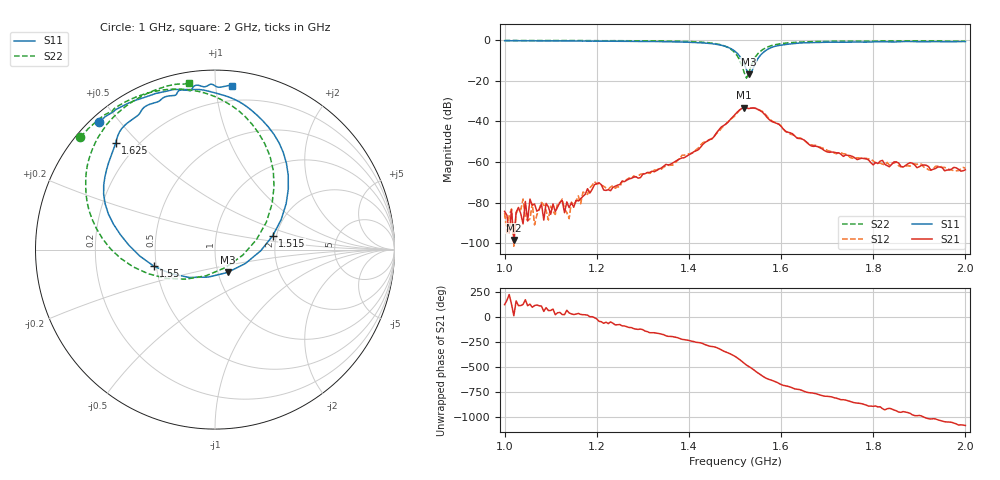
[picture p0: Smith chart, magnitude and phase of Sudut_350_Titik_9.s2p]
# Hz S RI R 50
! CMT, C1220, 16058040, 17.2.0/1
! Date: 14/08/2018 12:00:07
! Data: Format (Calibration Info)
! Freq  S11: Re/Im (F2)  S21: Re/Im (F2)  S12: Re/Im (F2)  S22: Re/Im (F2)
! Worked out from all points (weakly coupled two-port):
!   201 points, 1 GHz to 2 GHz, reference 50 ohm
!   highest |S21| = -33.17 dB at 1.52 GHz (marker M1); lowest = -98.3 dB at 1.02 GHz (marker M2)
!   lowest |S11| = -16.8 dB at 1.53 GHz (marker M3), VSWR 1.34, Z = 55.6 - j14.4 ohm
!   |S11| at or under -10 dB: 1.516 GHz to 1.548 GHz (31.71 MHz wide, 2.07 % of centre)
!   |S22| runs from -18.7 to -0.2 dB; largest |S21 - S12| = 0.00094
!   S11 on the Smith chart (normalised r, x): 1 GHz: 0.02, +0.44; 1.515 GHz: 1.91, +0.33; 1.55 GHz: 0.48, -0.10; 1.625 GHz: 0.12, +0.43; 2 GHz: 0.10, +1.10
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1e9  -0.6444 0.7125  -3.59e-05 5e-05  1.47e-06 -5.56e-05  -0.7499 0.6269
1.02e9  -0.6239 0.7288  1.17e-05 3.06e-06  -8.56e-06 7.21e-07  -0.7359 0.6421
1.15e9  -0.4926 0.811  6.91e-05 3.54e-05  8.37e-05 2.86e-05  -0.6325 0.7375
1.16e9  -0.4842 0.815  8.73e-05 6.87e-05  0.000133 6.3e-05  -0.6227 0.7453
1.165e9  -0.4781 0.8177  0.000111 5.97e-05  9.38e-05 1.23e-05  -0.6177 0.7489
1.17e9  -0.4708 0.821  0.00013 6.15e-05  0.000174 5.73e-05  -0.6124 0.7522
1.2e9  -0.4278 0.8364  0.000283 -8.71e-05  0.00026 -0.000127  -0.5783 0.7655
1.23e9  -0.3905 0.8488  0.000136 -0.000144  9.85e-05 -0.000222  -0.5563 0.7888
1.335e9  -0.2131 0.892  -0.000647 -0.000196  -0.000672 -0.000159  -0.3956 0.8659
1.45e9  0.1812 0.7935  0.00143 0.00342  0.00172 0.00342  0.0268 0.8397
1.5e9  0.4085 0.3383  0.0126 -0.00769  0.0119 -0.00729  0.329 0.3514
1.515e9  0.3211 0.0765  0.00301 -0.0207  0.00353 -0.0208  0.2312 0.0555
1.52e9  0.2546 -0.0067  -0.00418 -0.0216  -0.00391 -0.0218  0.1542 -0.0314
1.525e9  0.1696 -0.0773  -0.0103 -0.0185  -0.0103 -0.0188  0.0583 -0.1001
1.53e9  0.0706 -0.127  -0.0141 -0.0152  -0.0142 -0.0154  -0.05 -0.1459
1.55e9  -0.3418 -0.0917  -0.0186 0.00619  -0.0188 0.00559  -0.4563 -0.0961
1.58e9  -0.6121 0.2554  0.000221 0.00993  0.000615 0.0103  -0.7016 0.2175
1.625e9  -0.5529 0.5961  0.00484 0.00109  0.00457 0.00117  -0.6966 0.5224
1.67e9  -0.4405 0.7393  0.00188 -0.00155  0.00203 -0.00161  -0.6202 0.6735
1.835e9  -0.1465 0.8855  -0.000754 0.000147  -0.000723 0.000446  -0.3701 0.8735
1.85e9  -0.1303 0.8909  -0.000824 0.000591  -0.000748 0.000657  -0.3498 0.8825
2e9  0.0929 0.9121  0.000646 -3.03e-05  0.000709 -6.08e-05  -0.1467 0.9309
